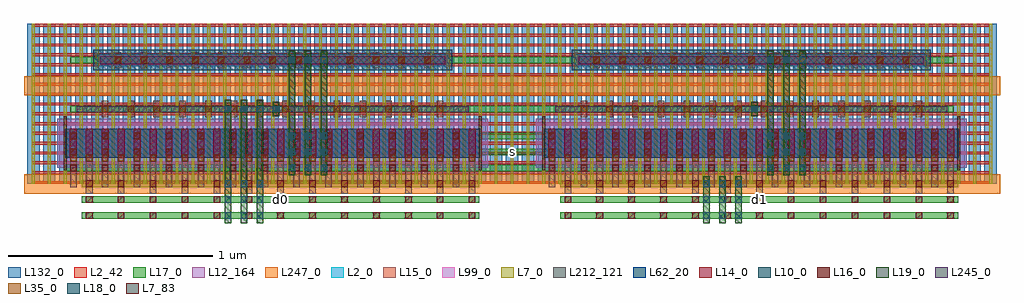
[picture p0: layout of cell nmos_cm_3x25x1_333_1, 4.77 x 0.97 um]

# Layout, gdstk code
import gdstk
lib = gdstk.Library(unit=1e-6, precision=1e-12)
def R(c, l, rs):  # rectangles x0, y0, x1, y1
    for r in rs: c.add(gdstk.rectangle(r[:2], r[2:], *l))
def A(c, l, x, y, w, h, nx, ny, dx, dy):  # array of equal rectangles
    R(c, l, [(x+i*dx, y+j*dy, x+i*dx+w, y+j*dy+h) for i in range(nx) for j in range(ny)])
L2_0 = (2, 0)
L2_42 = (2, 42)
L7_0 = (7, 0)
L7_83 = (7, 83)
L10_0 = (10, 0)
L12_164 = (12, 164)
L14_0 = (14, 0)
L15_0 = (15, 0)
L16_0 = (16, 0)
L17_0 = (17, 0)
L18_0 = (18, 0)
L19_0 = (19, 0)
L35_0 = (35, 0)
L62_20 = (62, 20)
L99_0 = (99, 0)
L132_0 = (132, 0)
L212_121 = (212, 121)
L245_0 = (245, 0)
L247_0 = (247, 0)

nmos_cm_3x25x1_333_1 = lib.new_cell('nmos_cm_3x25x1_333_1')
R(nmos_cm_3x25x1_333_1, L2_0, [(0.186,0.127,2.214,0.271), (2.526,0.127,4.554,0.271), (0.3425,0.575,2.0575,0.635), (2.6825,0.575,4.3975,0.635)])
A(nmos_cm_3x25x1_333_1, L2_42, 0.023, 0, 4.68, 0.014, 1, 17, 0, 0.048)
A(nmos_cm_3x25x1_333_1, L7_0, 0.023, 0, 0.014, 0.782, 61, 1, 0.078, 0)
R(nmos_cm_3x25x1_333_1, L7_83, [(0.179,0.067,0.193,0.331), (2.207,0.067,2.221,0.331), (2.519,0.067,2.533,0.331), (4.547,0.067,4.561,0.331)])
R(nmos_cm_3x25x1_333_1, L10_0, [(0.3225,0.555,2.0775,0.655), (2.6625,0.555,4.4175,0.655)])
R(nmos_cm_3x25x1_333_1, L12_164, [(0.147,0.079,2.253,0.319), (2.487,0.079,4.593,0.319)])
A(nmos_cm_3x25x1_333_1, L14_0, 0.208, 0.127, 0.034, 0.144, 26, 1, 0.078, 0)
A(nmos_cm_3x25x1_333_1, L14_0, 2.548, 0.127, 0.034, 0.144, 26, 1, 0.078, 0)
R(nmos_cm_3x25x1_333_1, L14_0, [(0.3575,0.585,2.0425,0.625), (2.6975,0.585,4.3825,0.625)])
A(nmos_cm_3x25x1_333_1, L15_0, 0.287, -0.047, 0.032, 0.175, 13, 1, 0.156, 0)
A(nmos_cm_3x25x1_333_1, L15_0, 2.627, -0.047, 0.032, 0.175, 13, 1, 0.156, 0)
A(nmos_cm_3x25x1_333_1, L15_0, 0.209, -0.017, 0.032, 0.288, 26, 1, 0.078, 0)
A(nmos_cm_3x25x1_333_1, L15_0, 2.549, -0.017, 0.032, 0.288, 26, 1, 0.078, 0)
A(nmos_cm_3x25x1_333_1, L15_0, 0.365, 0.326, 0.032, 0.08, 14, 1, 0.126, 0)
A(nmos_cm_3x25x1_333_1, L15_0, 2.705, 0.326, 0.032, 0.08, 14, 1, 0.126, 0)
A(nmos_cm_3x25x1_333_1, L15_0, 0.428, 0.565, 0.032, 0.08, 13, 1, 0.126, 0)
A(nmos_cm_3x25x1_333_1, L15_0, 2.768, 0.565, 0.032, 0.08, 13, 1, 0.126, 0)
A(nmos_cm_3x25x1_333_1, L16_0, 0.287, -0.171, 0.032, 0.032, 13, 3, 0.156, 0.078)
A(nmos_cm_3x25x1_333_1, L16_0, 2.627, -0.171, 0.032, 0.032, 13, 3, 0.156, 0.078)
A(nmos_cm_3x25x1_333_1, L16_0, 0.209, 0.063, 0.032, 0.032, 13, 3, 0.156, 0.078)
A(nmos_cm_3x25x1_333_1, L16_0, 2.549, 0.063, 0.032, 0.032, 13, 3, 0.156, 0.078)
A(nmos_cm_3x25x1_333_1, L16_0, 0.365, 0.35, 0.032, 0.032, 14, 1, 0.126, 0)
A(nmos_cm_3x25x1_333_1, L16_0, 2.705, 0.35, 0.032, 0.032, 14, 1, 0.126, 0)
A(nmos_cm_3x25x1_333_1, L16_0, 0.428, 0.589, 0.032, 0.032, 13, 1, 0.126, 0)
A(nmos_cm_3x25x1_333_1, L16_0, 2.768, 0.589, 0.032, 0.032, 13, 1, 0.126, 0)
A(nmos_cm_3x25x1_333_1, L17_0, 0.267, -0.171, 1.944, 0.032, 1, 3, 0, 0.078)
A(nmos_cm_3x25x1_333_1, L17_0, 2.607, -0.171, 1.944, 0.032, 1, 3, 0, 0.078)
A(nmos_cm_3x25x1_333_1, L17_0, 0.186, 0.063, 2.028, 0.032, 1, 3, 0, 0.078)
A(nmos_cm_3x25x1_333_1, L17_0, 2.204, 0.063, 0.332, 0.032, 1, 3, 0, 0.078)
A(nmos_cm_3x25x1_333_1, L17_0, 2.526, 0.063, 2.028, 0.032, 1, 3, 0, 0.078)
R(nmos_cm_3x25x1_333_1, L17_0, [(0.209,0.35,2.191,0.382), (2.181,0.35,2.559,0.382), (2.549,0.35,4.531,0.382), (0.209,0.589,2.191,0.621), (2.181,0.589,2.559,0.621), (2.549,0.589,4.531,0.621)])
A(nmos_cm_3x25x1_333_1, L18_0, 0.966, -0.171, 0.032, 0.032, 3, 3, 0.078, 0.078)
A(nmos_cm_3x25x1_333_1, L18_0, 3.306, -0.171, 0.032, 0.032, 3, 3, 0.078, 0.078)
A(nmos_cm_3x25x1_333_1, L18_0, 1.278, 0.063, 0.032, 0.032, 3, 3, 0.078, 0.078)
A(nmos_cm_3x25x1_333_1, L18_0, 3.618, 0.063, 0.032, 0.032, 3, 3, 0.078, 0.078)
A(nmos_cm_3x25x1_333_1, L18_0, 0.966, 0.35, 0.032, 0.032, 4, 1, 0.078, 0)
A(nmos_cm_3x25x1_333_1, L18_0, 1.278, 0.589, 0.032, 0.032, 3, 1, 0.078, 0)
A(nmos_cm_3x25x1_333_1, L18_0, 3.618, 0.589, 0.032, 0.032, 3, 1, 0.078, 0)
R(nmos_cm_3x25x1_333_1, L18_0, [(3.54,0.35,3.572,0.382)])
A(nmos_cm_3x25x1_333_1, L19_0, 0.966, -0.191, 0.032, 0.228, 3, 1, 0.078, 0)
A(nmos_cm_3x25x1_333_1, L19_0, 3.306, -0.191, 0.032, 0.228, 3, 1, 0.078, 0)
A(nmos_cm_3x25x1_333_1, L19_0, 0.966, 0.027, 0.032, 0.385, 3, 1, 0.078, 0)
A(nmos_cm_3x25x1_333_1, L19_0, 1.278, 0.043, 0.032, 0.228, 3, 1, 0.078, 0)
A(nmos_cm_3x25x1_333_1, L19_0, 3.618, 0.043, 0.032, 0.228, 3, 1, 0.078, 0)
A(nmos_cm_3x25x1_333_1, L19_0, 1.278, 0.261, 0.032, 0.39, 3, 1, 0.078, 0)
A(nmos_cm_3x25x1_333_1, L19_0, 3.618, 0.261, 0.032, 0.39, 3, 1, 0.078, 0)
R(nmos_cm_3x25x1_333_1, L19_0, [(1.2,0.33,1.232,0.402), (3.54,0.33,3.572,0.402)])
A(nmos_cm_3x25x1_333_1, L35_0, 0.209, 0.111, 0.032, 0.032, 26, 1, 0.078, 0)
A(nmos_cm_3x25x1_333_1, L35_0, 2.549, 0.111, 0.032, 0.032, 26, 1, 0.078, 0)
A(nmos_cm_3x25x1_333_1, L35_0, 0.365, 0.35, 0.032, 0.032, 14, 1, 0.126, 0)
A(nmos_cm_3x25x1_333_1, L35_0, 2.705, 0.35, 0.032, 0.032, 14, 1, 0.126, 0)
A(nmos_cm_3x25x1_333_1, L35_0, 0.428, 0.589, 0.032, 0.032, 13, 1, 0.126, 0)
A(nmos_cm_3x25x1_333_1, L35_0, 2.768, 0.589, 0.032, 0.032, 13, 1, 0.126, 0)
R(nmos_cm_3x25x1_333_1, L62_20, [(0.186,0.127,2.214,0.271), (2.526,0.127,4.554,0.271)])
R(nmos_cm_3x25x1_333_1, L99_0, [(0.186,0.127,2.214,0.271), (2.526,0.127,4.554,0.271), (0.3525,0.58,2.0475,0.63), (2.6925,0.58,4.3875,0.63)])
A(nmos_cm_3x25x1_333_1, L132_0, 0, 0, 0.06, 0.782, 61, 1, 0.078, 0)
R(nmos_cm_3x25x1_333_1, L212_121, [(0.186,0.127,2.214,0.271), (2.526,0.127,4.554,0.271)])
R(nmos_cm_3x25x1_333_1, L245_0, [(0.241,0.351,2.159,0.381), (2.581,0.351,4.499,0.381)])
R(nmos_cm_3x25x1_333_1, L247_0, [(-0.016,-0.047,2.416,0.047), (2.324,-0.047,4.756,0.047), (-0.016,0.433,2.416,0.527), (2.324,0.433,4.756,0.527)])
nmos_cm_3x25x1_333_1.add(gdstk.Label('s', (2.37,0.157), layer=16, texttype=20))
nmos_cm_3x25x1_333_1.add(gdstk.Label('d1', (3.579,-0.077), layer=16, texttype=20))
nmos_cm_3x25x1_333_1.add(gdstk.Label('d0', (1.239,-0.077), layer=16, texttype=20))

lib.write_gds('nmos_cm_3x25x1_333_1.gds')
